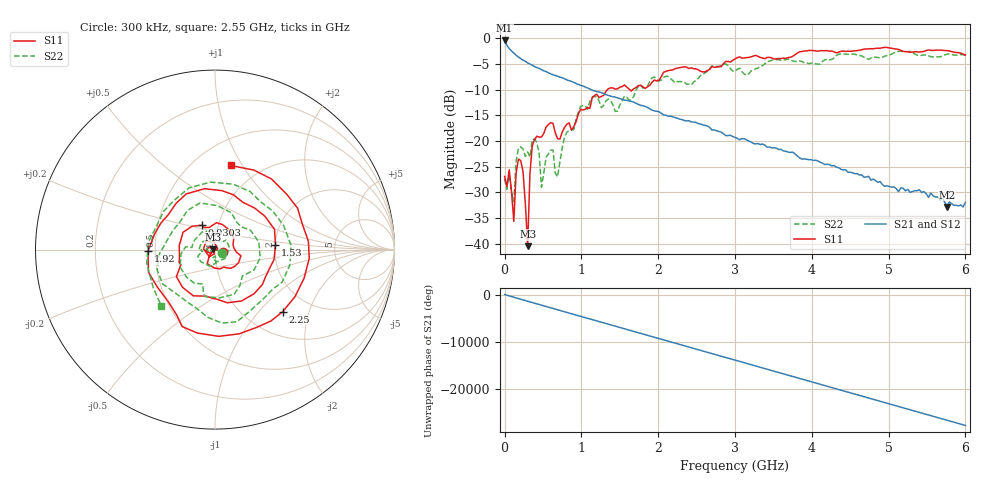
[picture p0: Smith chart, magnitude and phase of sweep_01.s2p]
! 2-port S-parameters written by miniscope-char acquisition
! instrument: Pico Technology Ltd,PicoVNA-106,10080,5.3.4
! transport: scpi
! endpoint: 127.0.0.1:5025
! demo: false
! calibration: software
# HZ S RI R 50
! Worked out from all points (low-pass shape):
!   201 points, 300 kHz to 6 GHz, reference 50 ohm
!   highest |S21| = -0.44 dB at 300 kHz (marker M1); lowest = -32.9 dB at 5.76 GHz (marker M2)
!   |S21| within 3 dB of the highest: start of sweep to 160.7 MHz
!   lowest |S11| = -40.5 dB at 300.3 MHz (marker M3), VSWR 1.02, Z = 49.1 + j0.108 ohm
!   |S11| at or under -10 dB: start of sweep to 1.341 GHz; 1.628 GHz to 1.669 GHz (41.39 MHz wide, 2.51 % of centre)
!   |S22| runs from -31.8 to -2.5 dB; largest |S21 - S12| = 0.053
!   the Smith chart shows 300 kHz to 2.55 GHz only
!   S11 on the Smith chart (normalised r, x): 300 kHz: 1.09, -0.03; 930.3 MHz: 0.84, +0.23; 1.53 GHz: 2.01, +0.11; 1.92 GHz: 0.46, -0.01; 2.25 GHz: 1.45, -1.36; 2.55 GHz: 0.73, +0.89
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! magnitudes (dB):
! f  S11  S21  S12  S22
! 300 kHz  -26.9  -0.4  0.0  -27.4
! 60.3 MHz  -25.6  -2.0  -2.2  -26.0
! 120.3 MHz  -35.6  -2.9  -3.1  -31.8
! 150.3 MHz  -26.2  -3.3  -3.5  -23.9
! 210.3 MHz  -23.8  -4.0  -4.1  -21.1
! 300.3 MHz  -40.5  -4.8  -5.0  -22.1
! 330.3 MHz  -26.3  -5.0  -5.2  -23.1
! 390.3 MHz  -19.7  -5.5  -5.7  -19.7
! 480.3 MHz  -19.2  -6.1  -6.3  -29.0
! 690.3 MHz  -19.6  -7.4  -7.5  -27.0
! 930.3 MHz  -16.3  -8.8  -8.9  -15.7
! 1.02 GHz  -14.0  -9.3  -9.4  -13.1
! 1.53 GHz  -9.4  -11.9  -12.0  -12.2
! 1.92 GHz  -8.6  -14.0  -14.1  -7.7
! 2.01 GHz  -8.2  -14.3  -14.4  -8.3
! 2.25 GHz  -5.8  -15.6  -15.7  -8.4
! 2.55 GHz  -6.4  -16.7  -16.9  -7.3
! 3 GHz  -4.0  -19.3  -19.4  -6.4
! 4.02 GHz  -2.4  -23.8  -23.9  -4.9
! 5.01 GHz  -1.9  -28.9  -29.0  -3.3
! 5.76 GHz  -2.4  -32.9  -33.0  -3.1
! 6 GHz  -3.3  -32.0  -32.1  -3.3
